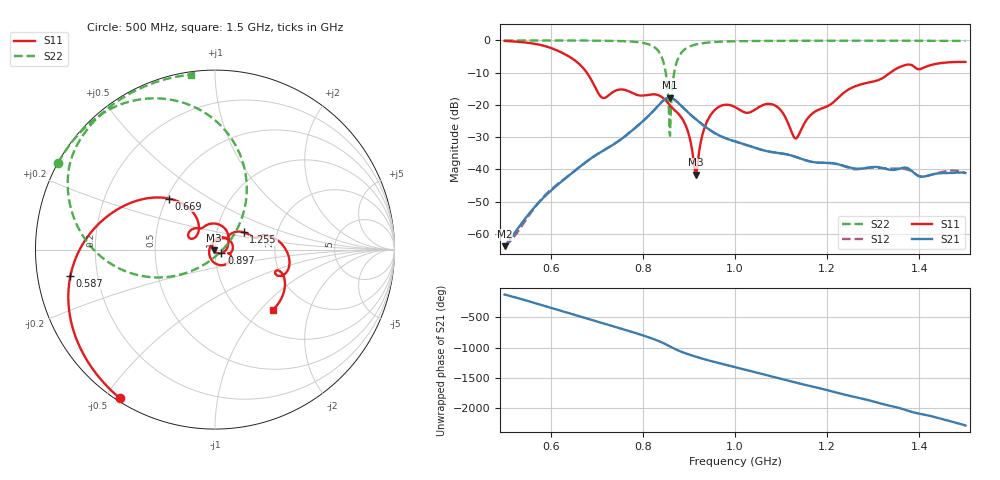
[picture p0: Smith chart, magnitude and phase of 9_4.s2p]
! TOUCHSTONE file generated by CST MICROWAVE STUDIO
! Date and time: Fri Oct  2 16:54:56 2020
! Project name: Scenario_1_Free_Space_out_of_line.cst
! Parameters = {Lambda=346.42; Step_1=17.321; dy1=208.912; dx1=693; L_HA=400; MT=2.54; Rad_Dielectric=30; Rad_Lower=7.3; Rad_Upper=30; a_HA=580; a_WG=246; b_HA=500; b_WG=121; c_HA=0; c_WG=187; d_feed=85; h_feed=15; h_lower=18; h_upper=40}
! Header version: 2018
! Port assignment regex: !\s*Touchstone port\s*([0-9]+)\s*=\s*(CST MWS port|CST DS port)\s*([0-9]+|Zmin|Zmax)\s*\(\"(.*)\"\)(\s*mode\s*([0-9]+))?.*
! Touchstone port assignment:
! Touchstone port 1 = CST MWS port 1 ("")
! Touchstone port 2 = CST MWS port 2 ("")
# GHz S DB R 50
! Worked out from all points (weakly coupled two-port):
!   1003 points, 500 MHz to 1.5 GHz, reference 50 ohm
!   highest |S21| = -17.72 dB at 858 MHz (marker M1); lowest = -63.8 dB at 500 MHz (marker M2)
!   lowest |S11| = -41.6 dB at 915 MHz (marker M3), VSWR 1.02, Z = 49.3 - j0.446 ohm
!   |S11| at or under -10 dB: 678.4 MHz to 1.337 GHz (658.2 MHz wide, 65.3 % of centre)
!   |S22| runs from -29.6 to 0.0 dB; largest |S21 - S12| = 0.00098
!   S11 on the Smith chart (normalised r, x): 500 MHz: 0.01, -0.55; 587 MHz: 0.10, -0.09; 669 MHz: 0.51, +0.34; 897 MHz: 1.07, -0.04; 1.255 GHz: 1.35, +0.27; 1.5 GHz: 1.37, -1.17
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0.5  -0.15 -122.6  -63.77 -125.5  -63.60 -125.7  -0.01 151.2
0.587  -1.73 -169.5  -48.38 46.2  -48.07 47.2  -0.02 145.1
0.63  -4.21 161.3  -42.97 -50.2  -42.89 -50.2  -0.03 141.7
0.667  -8.01 133.7  -38.73 -133.3  -38.75 -133.3  -0.04 138.3
0.669  -8.32 132.2  -38.51 -137.9  -38.52 -137.9  -0.04 138.2
0.713  -17.82 140.6  -34.24 120.5  -34.24 120.6  -0.09 133.2
0.789  -16.95 124.2  -26.42 -50.2  -26.42 -50.1  -0.54 117.4
0.834  -16.99 80.8  -20.12 -169.3  -20.12 -169.3  -3.35 86.3
0.847  -18.24 58.1  -18.32 146.0  -18.32 146.0  -8.03 63.5
0.858  -19.98 41.1  -17.72 103.1  -17.72 103.1  -28.48 -9.0
0.873  -22.15 20.2  -18.87 46.7  -18.87 46.7  -6.95 -161.4
0.897  -27.87 -29.3  -22.18 -23.9  -22.17 -23.9  -2.20 170.4
0.915  -41.65 -146.8  -24.41 -68.4  -24.39 -68.3  -1.26 160.4
0.931  -28.38 106.9  -26.26 -104.5  -26.24 -104.5  -0.83 154.5
0.947  -23.14 71.4  -27.91 -137.8  -27.90 -137.8  -0.57 150.0
1  -20.64 -7.8  -31.28 120.4  -31.28 120.4  -0.26 140.3
1.086  -20.09 -59.2  -34.74 -43.3  -34.73 -43.3  -0.13 131.0
1.132  -30.36 159.8  -36.11 -134.2  -36.11 -134.3  -0.11 127.1
1.167  -22.75 59.5  -37.63 162.2  -37.63 162.2  -0.09 124.2
1.255  -14.57 30.9  -39.57 -3.0  -39.84 -3.2  -0.08 117.5
1.334  -10.28 14.3  -40.03 -152.1  -39.67 -153.1  -0.09 111.5
1.5  -6.65 -46.2  -41.10 -119.5  -41.10 -119.5  -0.14 97.9
